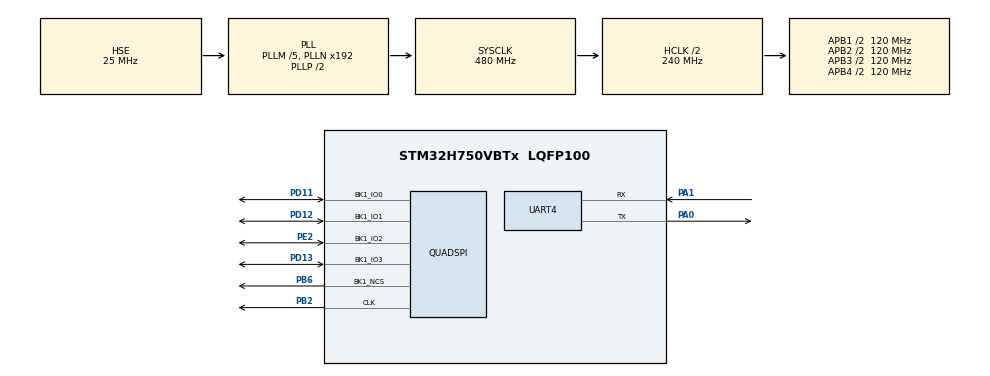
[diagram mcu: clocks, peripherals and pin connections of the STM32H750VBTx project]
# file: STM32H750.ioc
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CORTEX_M7.CPU_DCache=Disabled
CORTEX_M7.CPU_ICache=Disabled
Mcu.Family=STM32H7
Mcu.Name=STM32H750VBTx
Mcu.Package=LQFP100
NVIC.PriorityGroup=NVIC_PRIORITYGROUP_4
NVIC.UART4_IRQn=true\:0\:0\:false\:false\:true\:true\:true\:true
PA0.Mode=Asynchronous
PA0.Signal=UART4_TX
PA1.Mode=Asynchronous
PA1.Signal=UART4_RX
PA13\ (JTMS/SWDIO).Mode=Serial_Wire
PA13\ (JTMS/SWDIO).Signal=DEBUG_JTMS-SWDIO
PA14\ (JTCK/SWCLK).Mode=Serial_Wire
PA14\ (JTCK/SWCLK).Signal=DEBUG_JTCK-SWCLK
PB2.GPIO_Speed=GPIO_SPEED_FREQ_VERY_HIGH
PB2.Mode=Single Bank 1
PB2.Signal=QUADSPI_CLK
PB6.GPIO_Speed=GPIO_SPEED_FREQ_VERY_HIGH
PB6.Mode=Single Bank 1
PB6.Signal=QUADSPI_BK1_NCS
PC14-OSC32_IN\ (OSC32_IN).Mode=LSE-External-Oscillator
PC14-OSC32_IN\ (OSC32_IN).Signal=RCC_OSC32_IN
PC15-OSC32_OUT\ (OSC32_OUT).Mode=LSE-External-Oscillator
PC15-OSC32_OUT\ (OSC32_OUT).Signal=RCC_OSC32_OUT
PD11.GPIO_Speed=GPIO_SPEED_FREQ_VERY_HIGH
PD11.Mode=Single Bank 1
PD11.Signal=QUADSPI_BK1_IO0
PD12.GPIO_Speed=GPIO_SPEED_FREQ_VERY_HIGH
PD12.Mode=Single Bank 1
PD12.Signal=QUADSPI_BK1_IO1
PD13.GPIO_Speed=GPIO_SPEED_FREQ_VERY_HIGH
PD13.Mode=Single Bank 1
PD13.Signal=QUADSPI_BK1_IO3
PE2.GPIO_Speed=GPIO_SPEED_FREQ_VERY_HIGH
PE2.Mode=Single Bank 1
PE2.Signal=QUADSPI_BK1_IO2
PH0-OSC_IN\ (PH0).Mode=HSE-External-Oscillator
PH0-OSC_IN\ (PH0).Signal=RCC_OSC_IN
PH1-OSC_OUT\ (PH1).Mode=HSE-External-Oscillator
PH1-OSC_OUT\ (PH1).Signal=RCC_OSC_OUT
ProjectManager.HeapSize=0x200
ProjectManager.StackSize=0x800
ProjectManager.TargetToolchain=Makefile
QUADSPI.ChipSelectHighTime=QSPI_CS_HIGH_TIME_1_CYCLE
QUADSPI.ClockPrescaler=4
QUADSPI.FifoThreshold=4
QUADSPI.FlashSize=22
QUADSPI.SampleShifting=QSPI_SAMPLE_SHIFTING_NONE
RCC.ADCFreq_Value=160000000
RCC.APB1Freq_Value=120000000
RCC.APB2Freq_Value=120000000
RCC.APB3Freq_Value=120000000
RCC.APB4Freq_Value=120000000
RCC.CortexFreq_Value=480000000
RCC.D1PPRE=RCC_APB3_DIV2
RCC.D2PPRE1=RCC_APB1_DIV2
RCC.D2PPRE2=RCC_APB2_DIV2
RCC.D3PPRE=RCC_APB4_DIV2
RCC.DIVM1=5
RCC.DIVM2=5
RCC.DIVN1=192
RCC.DIVN2=64
RCC.DIVQ1=15
RCC.HCLKFreq_Value=240000000
RCC.HPRE=RCC_HCLK_DIV2
RCC.PLL2FRACN=0
RCC.PLL3FRACN=0
RCC.PLLFRACN=0
RCC.PLLSourceVirtual=RCC_PLLSOURCE_HSE
RCC.SPI123CLockSelection=RCC_SPI123CLKSOURCE_PLL2
RCC.SYSCLKFreq_VALUE=480000000
RCC.SYSCLKSource=RCC_SYSCLKSOURCE_PLLCLK
RCC.USBFreq_Value=64000000
board=custom

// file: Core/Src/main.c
/* USER CODE BEGIN Header */
/**
 ******************************************************************************
 * @file           : main.c
 * @brief          : Main program body
 ******************************************************************************
 * @attention
 *
 * Copyright (c) 2024 STMicroelectronics.
 * All rights reserved.
 *
 * This software is licensed under terms that can be found in the LICENSE file
 * in the root directory of this software component.
 * If no LICENSE file comes with this software, it is provided AS-IS.
 *
 ******************************************************************************
 */
/* USER CODE END Header */
#include "main.h"
#include "quadspi.h"
#include "usart.h"
#include "gpio.h"

/* USER CODE BEGIN Includes */
#include "comm/comm.h"
#include "lfsapp/lfsapp.h"
/* USER CODE END Includes */

void SystemClock_Config(void);

/* USER CODE BEGIN 0 */
#include <string.h>

#ifdef VARIANT_EXT_LOADER
#define SECTORS_COUNT 100
#endif

typedef struct {
    uint32_t initial_sp; // Stack Pointer
    uint32_t initial_pc; // Program Counter
} vtor_t;

const uint32_t crc32_tab[] = {
    0x00000000, 0x77073096, 0xee0e612c, 0x990951ba, 0x076dc419, 0x706af48f,
    0xe963a535, 0x9e6495a3, 0x0edb8832, 0x79dcb8a4, 0xe0d5e91e, 0x97d2d988,
    0x09b64c2b, 0x7eb17cbd, 0xe7b82d07, 0x90bf1d91, 0x1db71064, 0x6ab020f2,
    0xf3b97148, 0x84be41de, 0x1adad47d, 0x6ddde4eb, 0xf4d4b551, 0x83d385c7,
    0x136c9856, 0x646ba8c0, 0xfd62f97a, 0x8a65c9ec, 0x14015c4f, 0x63066cd9,
    0xfa0f3d63, 0x8d080df5, 0x3b6e20c8, 0x4c69105e, 0xd56041e4, 0xa2677172,
    0x3c03e4d1, 0x4b04d447, 0xd20d85fd, 0xa50ab56b, 0x35b5a8fa, 0x42b2986c,
    0xdbbbc9d6, 0xacbcf940, 0x32d86ce3, 0x45df5c75, 0xdcd60dcf, 0xabd13d59,
    0x26d930ac, 0x51de003a, 0xc8d75180, 0xbfd06116, 0x21b4f4b5, 0x56b3c423,
    0xcfba9599, 0xb8bda50f, 0x2802b89e, 0x5f058808, 0xc60cd9b2, 0xb10be924,
    0x2f6f7c87, 0x58684c11, 0xc1611dab, 0xb6662d3d, 0x76dc4190, 0x01db7106,
    0x98d220bc, 0xefd5102a, 0x71b18589, 0x06b6b51f, 0x9fbfe4a5, 0xe8b8d433,
    0x7807c9a2, 0x0f00f934, 0x9609a88e, 0xe10e9818, 0x7f6a0dbb, 0x086d3d2d,
    0x91646c97, 0xe6635c01, 0x6b6b51f4, 0x1c6c6162, 0x856530d8, 0xf262004e,
    0x6c0695ed, 0x1b01a57b, 0x8208f4c1, 0xf50fc457, 0x65b0d9c6, 0x12b7e950,
    0x8bbeb8ea, 0xfcb9887c, 0x62dd1ddf, 0x15da2d49, 0x8cd37cf3, 0xfbd44c65,
    0x4db26158, 0x3ab551ce, 0xa3bc0074, 0xd4bb30e2, 0x4adfa541, 0x3dd895d7,
    0xa4d1c46d, 0xd3d6f4fb, 0x4369e96a, 0x346ed9fc, 0xad678846, 0xda60b8d0,
    0x44042d73, 0x33031de5, 0xaa0a4c5f, 0xdd0d7cc9, 0x5005713c, 0x270241aa,
    0xbe0b1010, 0xc90c2086, 0x5768b525, 0x206f85b3, 0xb966d409, 0xce61e49f,
    0x5edef90e, 0x29d9c998, 0xb0d09822, 0xc7d7a8b4, 0x59b33d17, 0x2eb40d81,
    0xb7bd5c3b, 0xc0ba6cad, 0xedb88320, 0x9abfb3b6, 0x03b6e20c, 0x74b1d29a,
    0xead54739, 0x9dd277af, 0x04db2615, 0x73dc1683, 0xe3630b12, 0x94643b84,
    0x0d6d6a3e, 0x7a6a5aa8, 0xe40ecf0b, 0x9309ff9d, 0x0a00ae27, 0x7d079eb1,
    0xf00f9344, 0x8708a3d2, 0x1e01f268, 0x6906c2fe, 0xf762575d, 0x806567cb,
    0x196c3671, 0x6e6b06e7, 0xfed41b76, 0x89d32be0, 0x10da7a5a, 0x67dd4acc,
    0xf9b9df6f, 0x8ebeeff9, 0x17b7be43, 0x60b08ed5, 0xd6d6a3e8, 0xa1d1937e,
    0x38d8c2c4, 0x4fdff252, 0xd1bb67f1, 0xa6bc5767, 0x3fb506dd, 0x48b2364b,
    0xd80d2bda, 0xaf0a1b4c, 0x36034af6, 0x41047a60, 0xdf60efc3, 0xa867df55,
    0x316e8eef, 0x4669be79, 0xcb61b38c, 0xbc66831a, 0x256fd2a0, 0x5268e236,
    0xcc0c7795, 0xbb0b4703, 0x220216b9, 0x5505262f, 0xc5ba3bbe, 0xb2bd0b28,
    0x2bb45a92, 0x5cb36a04, 0xc2d7ffa7, 0xb5d0cf31, 0x2cd99e8b, 0x5bdeae1d,
    0x9b64c2b0, 0xec63f226, 0x756aa39c, 0x026d930a, 0x9c0906a9, 0xeb0e363f,
    0x72076785, 0x05005713, 0x95bf4a82, 0xe2b87a14, 0x7bb12bae, 0x0cb61b38,
    0x92d28e9b, 0xe5d5be0d, 0x7cdcefb7, 0x0bdbdf21, 0x86d3d2d4, 0xf1d4e242,
    0x68ddb3f8, 0x1fda836e, 0x81be16cd, 0xf6b9265b, 0x6fb077e1, 0x18b74777,
    0x88085ae6, 0xff0f6a70, 0x66063bca, 0x11010b5c, 0x8f659eff, 0xf862ae69,
    0x616bffd3, 0x166ccf45, 0xa00ae278, 0xd70dd2ee, 0x4e048354, 0x3903b3c2,
    0xa7672661, 0xd06016f7, 0x4969474d, 0x3e6e77db, 0xaed16a4a, 0xd9d65adc,
    0x40df0b66, 0x37d83bf0, 0xa9bcae53, 0xdebb9ec5, 0x47b2cf7f, 0x30b5ffe9,
    0xbdbdf21c, 0xcabac28a, 0x53b39330, 0x24b4a3a6, 0xbad03605, 0xcdd70693,
    0x54de5729, 0x23d967bf, 0xb3667a2e, 0xc4614ab8, 0x5d681b02, 0x2a6f2b94,
    0xb40bbe37, 0xc30c8ea1, 0x5a05df1b, 0x2d02ef8d};

uint32_t crc32(const void *buf, size_t size)
{
    const uint8_t *p = buf;
    uint32_t crc;

    crc = ~0U;
    while (size--) {
        crc = crc32_tab[(crc ^ *p++) & 0xFF] ^ (crc >> 8);
    }
    return crc ^ ~0U;
}

void jump_to_firmware(const uint32_t address)
{
    __disable_irq();
    SysTick->CTRL = 0;
    SysTick->LOAD = 0;
    SysTick->VAL = 0;
    SCB->VTOR = address;
    vtor_t *app_vtor = (vtor_t *)address;
    /* Jump, used asm to avoid stack optimization */
    asm("msr msp, %0; bx %1;"
        :
        : "r"(app_vtor->initial_sp), "r"(app_vtor->initial_pc));
}

/* USER CODE END 0 */

void boot_fatal_error(void)
{
    while (1) {
        HAL_GPIO_WritePin(GPIOA, GPIO_PIN_1, GPIO_PIN_SET);
        HAL_Delay(100);
        HAL_GPIO_WritePin(GPIOA, GPIO_PIN_1, GPIO_PIN_RESET);
        HAL_Delay(100);
    }
}

int main(void)
{

    /* MCU
     * Configuration--------------------------------------------------------*/

    /* Reset of all peripherals, Initializes the Flash interface and the
     * Systick. */
    HAL_Init();

    /* Configure the system clock */
    SystemClock_Config();

    /* Initialize all configured peripherals */
    MX_GPIO_Init();
    MX_UART4_Init();
    /* USER CODE BEGIN 2 */

#ifdef VARIANT_EXT_LOADER
    MX_QUADSPI_Init();
    W25Q_Init();

    uint8_t buffer_test[MEMORY_SECTOR_SIZE];
    for (uint32_t var = 0; var < MEMORY_SECTOR_SIZE; var++) {
        buffer_test[var] = (var & 0xff);
    }
    for (uint32_t var = 0; var < SECTORS_COUNT; var++) {
        if (W25Q_EraseSector(var * MEMORY_SECTOR_SIZE,
                             (var + 1) * (MEMORY_SECTOR_SIZE - 1)) != HAL_OK) {
            while (1)
                ; // breakpoint - error detected
        }
        if (W25Q_WriteMemory(buffer_test, var * MEMORY_SECTOR_SIZE,
                             sizeof(buffer_test)) != HAL_OK) {
            while (1)
                ; // breakpoint - error detected
        }
    }

    if (W25Q_EnableMemoryMappedMode2() != HAL_OK) {
        while (1)
            ; // breakpoint - error detected
    }

    uint8_t firstValue = *(uint8_t *)(0x90000000 + 0 * MEMORY_SECTOR_SIZE);
    (void)firstValue;

    for (uint32_t var = 0; var < SECTORS_COUNT; var++) {
        if (memcmp(buffer_test,
                   (uint8_t *)(0x90000000 + var * MEMORY_SECTOR_SIZE),
                   MEMORY_SECTOR_SIZE) != HAL_OK) {
            while (1)
                ; // breakpoint - error detected - otherwise QSPI works properly
        }
    }
#else

    // test the littlefs
    lfsapp_init();

    {
        // ensure boot directory exists
        int rc = lfs_mkdir(&lfs, "boot");
        if (rc < 0 && rc != LFS_ERR_EXIST) {
            boot_fatal_error();
        }
    }

    comm_service(1000);

    if (W25Q_EnableMemoryMappedMode2() != HAL_OK) {
        while (1)
            ; // breakpoint - error detected
    }

#if defined(VARIANT_BL_IRAM)

    lfs_file_t file;
    int rc = lfs_file_open(&lfs, &file, "boot/app.bin", LFS_O_RDONLY);
    if (rc < 0) {
        boot_fatal_error();
    }
    const lfs_soff_t app_size = lfs_file_size(&lfs, &file);
    if (app_size <= 0) {
        boot_fatal_error();
    }
    rc = lfs_file_read(&lfs, &file, (void *)D1_AXISRAM_BASE, app_size);
    if (rc < 0) {
        boot_fatal_error();
    }
    if (rc != app_size) {
        boot_fatal_error();
    }
    rc = lfs_file_close(&lfs, &file);
    if (rc < 0) {
        boot_fatal_error();
    }
    HAL_QSPI_DeInit(&hqspi);
    HAL_DeInit();
#define APP_BASE D1_AXISRAM_BASE
#elif defined(VARIANT_BL_QSPIFLASH)
#define APP_BASE QSPI_BASE
#endif

    jump_to_firmware(APP_BASE);
    // should never reach here
#endif

    /* USER CODE END 2 */

    /* Infinite loop */
    while (1) {

    }
}

void SystemClock_Config(void)
{
    RCC_OscInitTypeDef RCC_OscInitStruct = {0};
    RCC_ClkInitTypeDef RCC_ClkInitStruct = {0};

    /** Supply configuration update enable
     */
    HAL_PWREx_ConfigSupply(PWR_LDO_SUPPLY);

    /** Configure the main internal regulator output voltage
     */
    __HAL_PWR_VOLTAGESCALING_CONFIG(PWR_REGULATOR_VOLTAGE_SCALE1);

    while (!__HAL_PWR_GET_FLAG(PWR_FLAG_VOSRDY)) {
    }

    __HAL_RCC_SYSCFG_CLK_ENABLE();
    __HAL_PWR_VOLTAGESCALING_CONFIG(PWR_REGULATOR_VOLTAGE_SCALE0);

    while (!__HAL_PWR_GET_FLAG(PWR_FLAG_VOSRDY)) {
    }

    /** Initializes the RCC Oscillators according to the specified parameters
     * in the RCC_OscInitTypeDef structure.
     */
    RCC_OscInitStruct.OscillatorType = RCC_OSCILLATORTYPE_HSE;
    RCC_OscInitStruct.HSEState = RCC_HSE_ON;
    RCC_OscInitStruct.PLL.PLLState = RCC_PLL_ON;
    RCC_OscInitStruct.PLL.PLLSource = RCC_PLLSOURCE_HSE;
    RCC_OscInitStruct.PLL.PLLM = 5;
    RCC_OscInitStruct.PLL.PLLN = 192;
    RCC_OscInitStruct.PLL.PLLP = 2;
    RCC_OscInitStruct.PLL.PLLQ = 15;
    RCC_OscInitStruct.PLL.PLLR = 2;
    RCC_OscInitStruct.PLL.PLLRGE = RCC_PLL1VCIRANGE_2;
    RCC_OscInitStruct.PLL.PLLVCOSEL = RCC_PLL1VCOWIDE;
    RCC_OscInitStruct.PLL.PLLFRACN = 0;
    if (HAL_RCC_OscConfig(&RCC_OscInitStruct) != HAL_OK) {
        Error_Handler();
    }

    /** Initializes the CPU, AHB and APB buses clocks
     */
    RCC_ClkInitStruct.ClockType = RCC_CLOCKTYPE_HCLK | RCC_CLOCKTYPE_SYSCLK |
                                  RCC_CLOCKTYPE_PCLK1 | RCC_CLOCKTYPE_PCLK2 |
                                  RCC_CLOCKTYPE_D3PCLK1 | RCC_CLOCKTYPE_D1PCLK1;
    RCC_ClkInitStruct.SYSCLKSource = RCC_SYSCLKSOURCE_PLLCLK;
    RCC_ClkInitStruct.SYSCLKDivider = RCC_SYSCLK_DIV1;
    RCC_ClkInitStruct.AHBCLKDivider = RCC_HCLK_DIV2;
    RCC_ClkInitStruct.APB3CLKDivider = RCC_APB3_DIV2;
    RCC_ClkInitStruct.APB1CLKDivider = RCC_APB1_DIV2;
    RCC_ClkInitStruct.APB2CLKDivider = RCC_APB2_DIV2;
    RCC_ClkInitStruct.APB4CLKDivider = RCC_APB4_DIV2;

    if (HAL_RCC_ClockConfig(&RCC_ClkInitStruct, FLASH_LATENCY_4) != HAL_OK) {
        Error_Handler();
    }
}

void Error_Handler(void)
{
    /* USER CODE BEGIN Error_Handler_Debug */
    /* User can add his own implementation to report the HAL error return state
     */
    __disable_irq();
    while (1) {
    }
    /* USER CODE END Error_Handler_Debug */
}

#ifdef USE_FULL_ASSERT
/**
 * @brief  Reports the name of the source file and the source line number
 *         where the assert_param error has occurred.
 * @param  file: pointer to the source file name
 * @param  line: assert_param error line source number
 * @retval None
 */
void assert_failed(uint8_t *file, uint32_t line)
{
    /* USER CODE BEGIN 6 */
    /* User can add his own implementation to report the file name and line
       number, ex: printf("Wrong parameters value: file %s on line %d\r\n",
       file, line) */
    /* USER CODE END 6 */
}
#endif /* USE_FULL_ASSERT */
